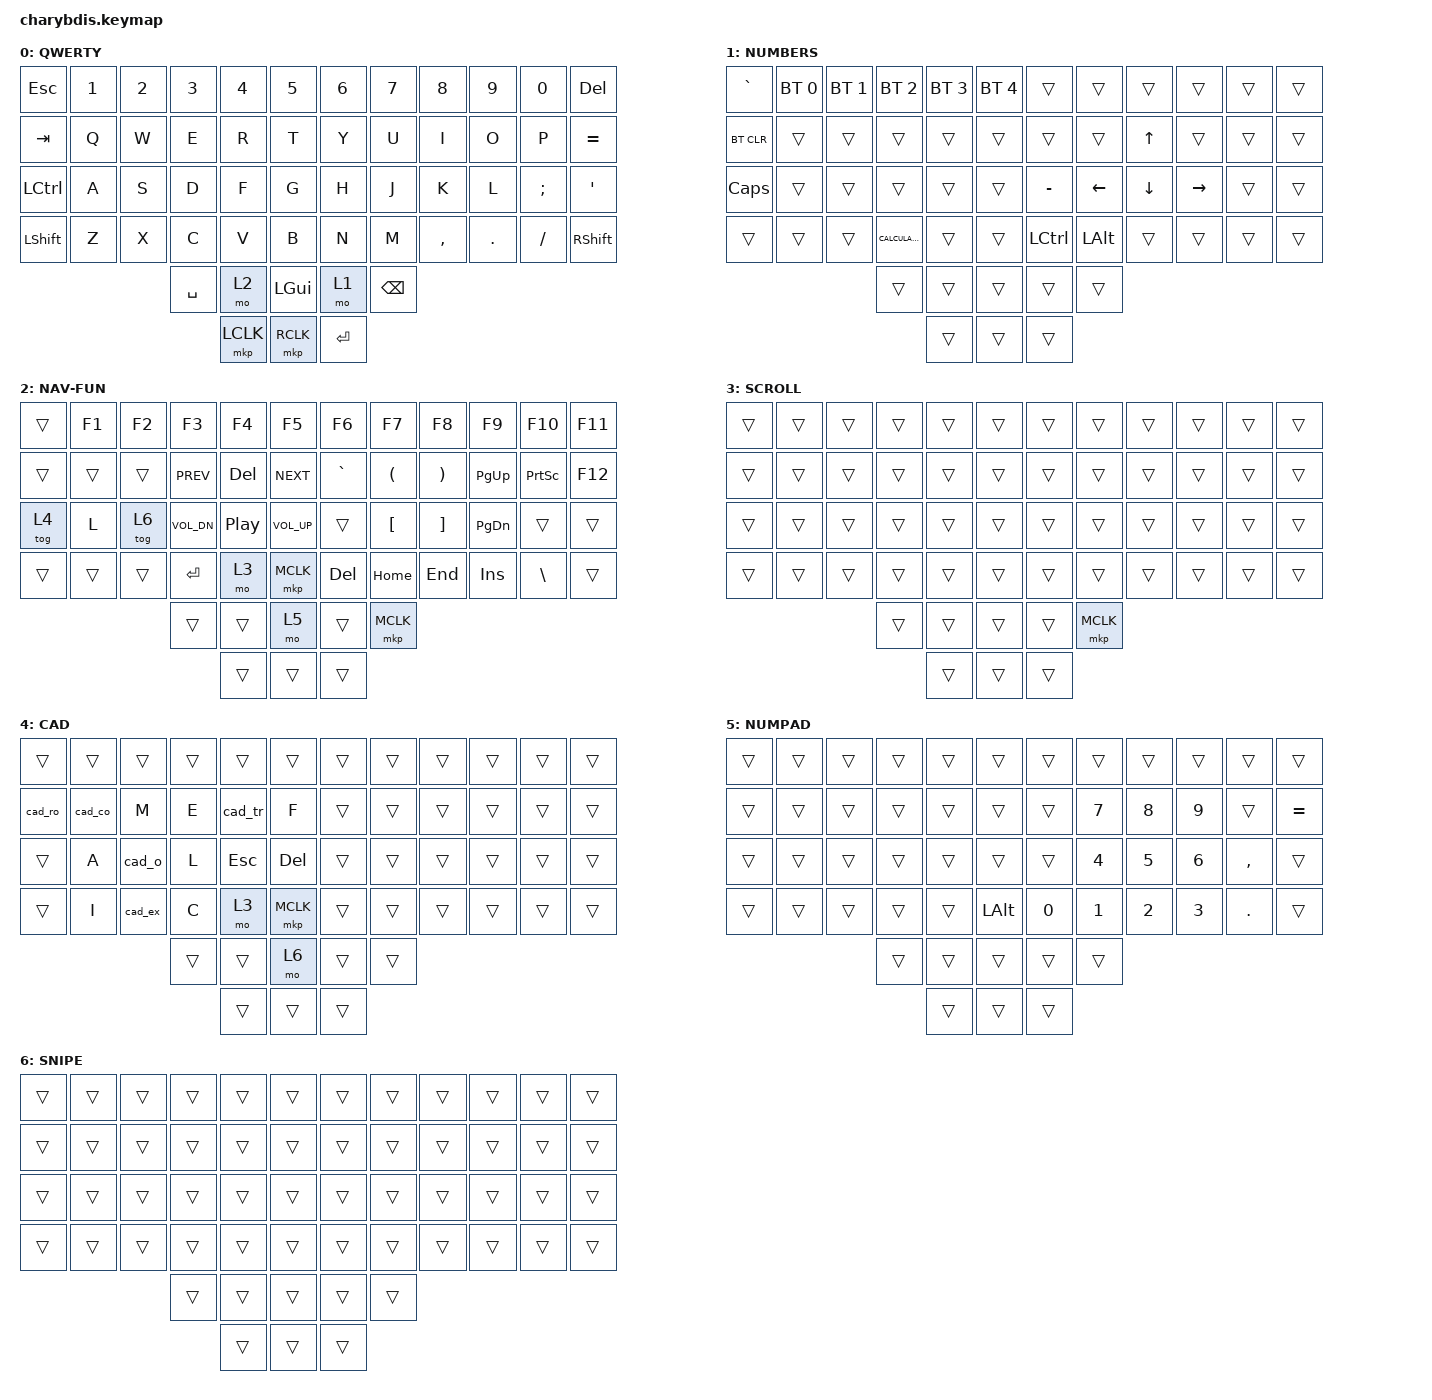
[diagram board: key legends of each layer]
#include <dt-bindings/zmk/mouse.h>
#include <behaviors/mouse_keys.dtsi>
#include <behaviors.dtsi>
#include <dt-bindings/zmk/bt.h>
#include <dt-bindings/zmk/keys.h>
#include <dt-bindings/zmk/pointing.h>
#include <dt-bindings/zmk/input_transform.h>
#include <input/processors.dtsi>

// / {
//     chosen { zmk,matrix_transform = &default_transform; };
// };

/ {
    /*
     * Trackball input. Uses ZMK input processors (instead of the old
     * zmk,input-behavior-listener) because the scaler tracks remainders:
     * fractional movement is carried over to the next report rather than
     * truncated away, so very slow movement still moves the cursor. That
     * matters for the snipe layer.
     *
     * Overrides match ANY active layer (not just the highest), so the
     * base speed now also applies on layers 4 and 5.
     */

    trackball_listener {
        compatible = "zmk,input-listener";
        device = <&vtrackball>;

        /* normal speed: half of sensor CPI (600 / 2) */
        input-processors = <&zip_xy_scaler 1 2>;

        /* scroll layer: vertical scroll only, inverted, 1/14 speed */
        scroller {
            layers = <3>;
            input-processors = <&zip_xy_transform INPUT_TRANSFORM_Y_INVERT>,
                               <&zip_y_to_wheel_mapper>,
                               <&zip_wheel_scaler 1 14>;
        };

        /* snipe layer: 1/8 of sensor CPI = quarter of normal speed */
        sniper {
            layers = <6>;
            input-processors = <&zip_xy_scaler 1 8>;
        };
    };

    /* Y -> wheel; X -> REL_MISC, which the HID report ignores (no h-scroll) */
    zip_y_to_wheel_mapper: zip_y_to_wheel_mapper {
        compatible = "zmk,input-processor-code-mapper";
        #input-processor-cells = <0>;
        type = <INPUT_EV_REL>;
        map = <INPUT_REL_Y INPUT_REL_WHEEL>,
              <INPUT_REL_X INPUT_REL_MISC>;
    };

    zip_wheel_scaler: zip_wheel_scaler {
        compatible = "zmk,input-processor-scaler";
        #input-processor-cells = <2>;
        type = <INPUT_EV_REL>;
        codes = <INPUT_REL_WHEEL>;
        track-remainders;
    };

    /* AutoCAD command shortcuts: type the alias, then Space to run it */
    macros {
        cad_co: cad_co {
            compatible = "zmk,behavior-macro";
            label = "CAD_CO";
            #binding-cells = <0>;
            bindings = <&kp C &kp O &kp SPACE>;
        };

        cad_tr: cad_tr {
            compatible = "zmk,behavior-macro";
            label = "CAD_TR";
            #binding-cells = <0>;
            bindings = <&kp T &kp R &kp SPACE>;
        };

        cad_o: cad_o {
            compatible = "zmk,behavior-macro";
            label = "CAD_O";
            #binding-cells = <0>;
            bindings = <&kp O &kp SPACE>;
        };

        cad_ex: cad_ex {
            compatible = "zmk,behavior-macro";
            label = "CAD_EX";
            #binding-cells = <0>;
            bindings = <&kp E &kp X &kp SPACE>;
        };

        cad_ro: cad_ro {
            compatible = "zmk,behavior-macro";
            label = "CAD_RO";
            #binding-cells = <0>;
            bindings = <&kp R &kp O &kp SPACE>;
        };
    };

    keymap {
        compatible = "zmk,keymap";

        default_win_layer {
            bindings = <
&kp ESCAPE      &kp N1  &kp N2  &kp N3     &kp N4     &kp N5          &kp N6     &kp N7         &kp N8     &kp N9   &kp N0         &kp DELETE
&kp TAB         &kp Q   &kp W   &kp E      &kp R      &kp T           &kp Y      &kp U          &kp I      &kp O    &kp P          &kp EQUAL
&kp LCTRL       &kp A   &kp S   &kp D      &kp F      &kp G           &kp H      &kp J          &kp K      &kp L    &kp SEMICOLON  &kp APOSTROPHE
&kp LEFT_SHIFT  &kp Z   &kp X   &kp C      &kp V      &kp B           &kp N      &kp M          &kp COMMA  &kp DOT  &kp SLASH      &kp RSHIFT
                                &kp SPACE  &mo 2      &kp LEFT_GUI    &mo 1      &kp BACKSPACE
                                           &mkp LCLK  &mkp RCLK       &kp ENTER
            >;

            label = "QWERTY";
        };

        win_raise_layer {
            bindings = <
&kp GRAVE       &bt BT_SEL 0  &bt BT_SEL 1  &bt BT_SEL 2      &bt BT_SEL 3  &bt BT_SEL 4    &trans            &trans        &trans    &trans     &trans  &trans
&bt BT_CLR      &trans        &trans        &trans            &trans        &trans          &trans            &trans        &kp UP    &trans     &trans  &trans
&kp CAPS        &trans        &trans        &trans            &trans        &trans          &kp MINUS         &kp LEFT      &kp DOWN  &kp RIGHT  &trans  &trans
&trans          &trans        &trans        &kp K_CALCULATOR  &trans        &trans          &kp LEFT_CONTROL  &kp LEFT_ALT  &trans    &trans     &trans  &trans
                                            &trans            &trans        &trans          &trans            &trans
                                                              &trans        &trans          &trans
            >;

            label = "NUMBERS";
        };

        win_lower_layer {
            bindings = <
&trans  &kp F1  &kp F2  &kp F3        &kp F4            &kp F5          &kp F6      &kp F7                &kp F8                 &kp F9      &kp F10    &kp F11
&trans  &trans  &trans  &kp C_PREV    &kp DEL           &kp C_NEXT      &kp GRAVE   &kp LEFT_PARENTHESIS  &kp RIGHT_PARENTHESIS  &kp PG_UP   &kp PSCRN  &kp F12
&tog 4  &kp L   &tog 6  &kp C_VOL_DN  &kp C_PLAY_PAUSE  &kp C_VOL_UP    &trans      &kp LEFT_BRACKET      &kp RIGHT_BRACKET      &kp PG_DN   &trans     &trans
&trans  &trans  &trans  &kp ENTER     &mo 3             &mkp MCLK       &kp DELETE  &kp HOME              &kp END                &kp INSERT  &kp BSLH   &trans
                        &trans        &trans            &mo 5           &trans      &mkp MCLK
                                      &trans            &trans          &trans
            >;

            label = "NAV-FUN";
        };

        scroll_layer {
            bindings = <
&trans  &trans  &trans  &trans  &trans  &trans    &trans  &trans     &trans  &trans  &trans  &trans
&trans  &trans  &trans  &trans  &trans  &trans    &trans  &trans     &trans  &trans  &trans  &trans
&trans  &trans  &trans  &trans  &trans  &trans    &trans  &trans     &trans  &trans  &trans  &trans
&trans  &trans  &trans  &trans  &trans  &trans    &trans  &trans     &trans  &trans  &trans  &trans
                        &trans  &trans  &trans    &trans  &mkp MCLK
                                &trans  &trans    &trans
            >;

            label = "SCROLL";
        };

        cad_layer {
            bindings = <
&trans      &trans   &trans   &trans  &trans      &trans     &trans  &trans  &trans  &trans  &trans  &trans
&cad_ro     &cad_co  &kp M    &kp E   &cad_tr     &kp F      &trans  &trans  &trans  &trans  &trans  &trans
&trans      &kp A    &cad_o   &kp L   &kp ESCAPE  &kp DEL    &trans  &trans  &trans  &trans  &trans  &trans
&trans      &kp I    &cad_ex  &kp C   &mo 3       &mkp MCLK  &trans  &trans  &trans  &trans  &trans  &trans
                              &trans  &trans      &mo 6      &trans  &trans
                                      &trans      &trans     &trans
            >;

            label = "CAD";
        };

        numpad_layer {
            bindings = <
&trans  &trans  &trans  &trans  &trans  &trans          &trans  &trans        &trans        &trans        &trans      &trans
&trans  &trans  &trans  &trans  &trans  &trans          &trans  &kp N7        &kp N8        &kp NUMBER_9  &trans      &kp EQUAL
&trans  &trans  &trans  &trans  &trans  &trans          &trans  &kp NUMBER_4  &kp N5        &kp NUMBER_6  &kp COMMA   &trans
&trans  &trans  &trans  &trans  &trans  &kp LEFT_ALT    &kp N0  &kp NUMBER_1  &kp NUMBER_2  &kp NUMBER_3  &kp PERIOD  &trans
                        &trans  &trans  &trans          &trans  &trans
                                &trans  &trans          &trans
            >;

            label = "NUMPAD";
        };

        snipe_layer {
            bindings = <
&trans  &trans  &trans  &trans  &trans  &trans    &trans  &trans  &trans  &trans  &trans  &trans
&trans  &trans  &trans  &trans  &trans  &trans    &trans  &trans  &trans  &trans  &trans  &trans
&trans  &trans  &trans  &trans  &trans  &trans    &trans  &trans  &trans  &trans  &trans  &trans
&trans  &trans  &trans  &trans  &trans  &trans    &trans  &trans  &trans  &trans  &trans  &trans
                        &trans  &trans  &trans    &trans  &trans
                                &trans  &trans    &trans
            >;

            label = "SNIPE";
        };
    };
};
